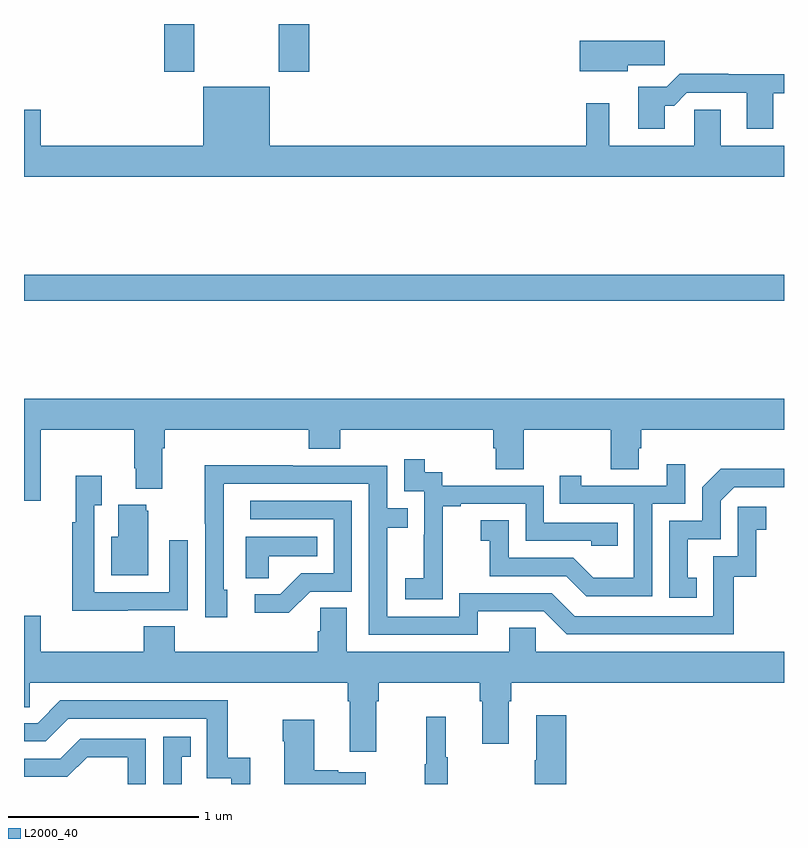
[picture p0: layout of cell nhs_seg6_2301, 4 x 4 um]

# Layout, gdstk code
import gdstk
lib = gdstk.Library(unit=1e-6, precision=1e-09)
def R(c, l, rs):  # rectangles x0, y0, x1, y1
    for r in rs: c.add(gdstk.rectangle(r[:2], r[2:], *l))
def P(c, l, *ps):  # polygons
    for p in ps: c.add(gdstk.Polygon(p, *l))
L2000_40 = (2000, 40)

nhs_seg6_2301 = lib.new_cell('nhs_seg6_2301')
R(nhs_seg6_2301, L2000_40, [(249,920.044,253,920.18), (249.737,921.249,249.897,921.5), (250.342,921.249,250.502,921.5)])
P(nhs_seg6_2301, L2000_40, [(252.178,921.283),(252.373,921.283),(252.373,921.412),(251.924,921.412),(251.924,921.251),(252.178,921.251)],
  [(252.373,921.071),(252.422,921.071),(252.489,921.138),(252.803,921.138),(252.803,920.949),(252.943,920.949),(252.943,921.135),(253,921.135),(253,921.236),(252.707,921.236),(252.707,921.239),(252.452,921.239),(252.382,921.169),(252.233,921.169),(252.233,920.949),(252.373,920.949)],
  [(253,920.86),(252.667,920.86),(252.667,921.05),(252.528,921.05),(252.528,920.86),(252.079,920.86),(252.079,921.082),(251.958,921.082),(251.958,920.86),(250.294,920.86),(250.294,921.169),(249.944,921.169),(249.944,920.86),(249.088,920.86),(249.088,921.049),(249,921.049),(249,920.696),(253,920.696)],
  [(249.088,919.364),(249.58,919.364),(249.58,919.162),(249.587,919.162),(249.587,919.055),(249.727,919.055),(249.727,919.268),(249.74,919.268),(249.74,919.364),(250.499,919.364),(250.499,919.265),(250.664,919.265),(250.664,919.364),(251.471,919.364),(251.471,919.266),(251.483,919.266),(251.483,919.156),(251.631,919.156),(251.631,919.364),(252.088,919.364),(252.088,919.156),(252.235,919.156),(252.235,919.266),(252.248,919.266),(252.248,919.364),(253,919.364),(253,919.528),(249,919.528),(249,918.99),(249.088,918.99)],
  [(251.205,918.679),(251.204,918.679),(251.204,918.963),(251.299,918.963),(251.299,918.975),(251.64,918.975),(251.64,918.78),(251.985,918.78),(251.985,918.753),(252.125,918.753),(252.125,918.876),(251.736,918.876),(251.736,919.071),(251.202,919.071),(251.202,919.14),(251.11,919.14),(251.11,919.21),(251.001,919.21),(251.001,919.041),(251.106,919.041),(251.106,918.812),(251.105,918.812),(251.105,918.583),(251.007,918.583),(251.007,918.473),(251.205,918.473)],
  [(252.306,918.975),(252.48,918.975),(252.48,919.183),(252.383,919.183),(252.383,919.071),(251.932,919.071),(251.932,919.123),(251.821,919.123),(251.821,918.975),(252.21,918.975),(252.21,918.586),(251.996,918.586),(251.892,918.69),(251.55,918.69),(251.55,918.889),(251.403,918.889),(251.403,918.779),(251.452,918.779),(251.452,918.594),(251.855,918.594),(251.96,918.489),(252.306,918.489)],
  [(251.389,918.408),(251.736,918.408),(251.856,918.288),(252.736,918.288),(252.736,918.591),(252.854,918.591),(252.854,918.837),(252.907,918.837),(252.907,918.958),(252.756,918.958),(252.756,918.699),(252.627,918.699),(252.627,918.384),(251.898,918.384),(251.778,918.504),(251.292,918.504),(251.292,918.381),(250.911,918.381),(250.911,918.85),(251.021,918.85),(251.021,918.951),(250.911,918.951),(250.911,919.176),(250.415,919.176),(250.415,919.178),(249.952,919.178),(249.952,918.871),(249.954,918.871),(249.954,918.378),(250.069,918.378),(250.069,918.522),(250.05,918.522),(250.05,919.08),(250.815,919.08),(250.815,918.285),(251.389,918.285)],
  [(252.542,918.585),(252.493,918.585),(252.493,918.789),(252.666,918.789),(252.666,918.99),(252.738,919.062),(253,919.062),(253,919.16),(252.668,919.16),(252.57,919.062),(252.57,918.885),(252.396,918.885),(252.396,918.48),(252.542,918.48)],
  [(249.545,918.414),(249.861,918.414),(249.861,918.784),(249.765,918.784),(249.765,918.51),(249.369,918.51),(249.369,918.967),(249.409,918.967),(249.409,919.123),(249.272,919.123),(249.272,918.878),(249.253,918.878),(249.253,918.413),(249.545,918.413)],
  [(250.506,918.513),(250.725,918.513),(250.725,918.99),(250.191,918.99),(250.191,918.894),(250.629,918.894),(250.629,918.609),(250.46,918.609),(250.349,918.498),(250.215,918.498),(250.215,918.401),(250.393,918.401)],
  [(249.655,918.939),(249.644,918.939),(249.644,918.97),(249.497,918.97),(249.497,918.802),(249.458,918.802),(249.458,918.599),(249.655,918.599)],
  [(250.287,918.698),(250.544,918.698),(250.544,918.802),(250.166,918.802),(250.166,918.583),(250.287,918.583)],
  [(250.855,917.936),(250.868,917.936),(250.868,918.032),(251.399,918.032),(251.399,917.936),(251.411,917.936),(251.411,917.712),(251.551,917.712),(251.551,917.936),(251.564,917.936),(251.564,918.032),(253,918.032),(253,918.196),(251.694,918.196),(251.694,918.323),(251.555,918.323),(251.555,918.196),(250.699,918.196),(250.699,918.428),(250.56,918.428),(250.56,918.305),(250.547,918.305),(250.547,918.196),(249.794,918.196),(249.794,918.329),(249.629,918.329),(249.629,918.196),(249.088,918.196),(249.088,918.385),(249,918.385),(249,917.905),(249.03,917.905),(249.03,918.032),(250.703,918.032),(250.703,917.936),(250.715,917.936),(250.715,917.67),(250.855,917.67)],
  [(250.19,917.638),(250.072,917.638),(250.072,917.94),(249.192,917.94),(249.072,917.82),(249,917.82),(249,917.724),(249.114,917.724),(249.234,917.844),(249.963,917.844),(249.963,917.529),(250.092,917.529),(250.092,917.5),(250.19,917.5)],
  [(251.855,917.863),(251.696,917.863),(251.696,917.624),(251.689,917.624),(251.689,917.5),(251.855,917.5)],
  [(251.23,917.641),(251.219,917.641),(251.219,917.854),(251.116,917.854),(251.116,917.604),(251.109,917.604),(251.109,917.5),(251.23,917.5)],
  [(250.798,917.563),(250.655,917.563),(250.655,917.573),(250.528,917.573),(250.528,917.839),(250.363,917.839),(250.363,917.726),(250.37,917.726),(250.37,917.5),(250.798,917.5)],
  [(249.829,917.643),(249.878,917.643),(249.878,917.749),(249.732,917.749),(249.732,917.5),(249.829,917.5)],
  [(249.642,917.739),(249.296,917.739),(249.191,917.634),(249,917.634),(249,917.538),(249.228,917.538),(249.332,917.642),(249.546,917.642),(249.546,917.5),(249.642,917.5)])

lib.write_gds('nhs_seg6_2301.gds')
